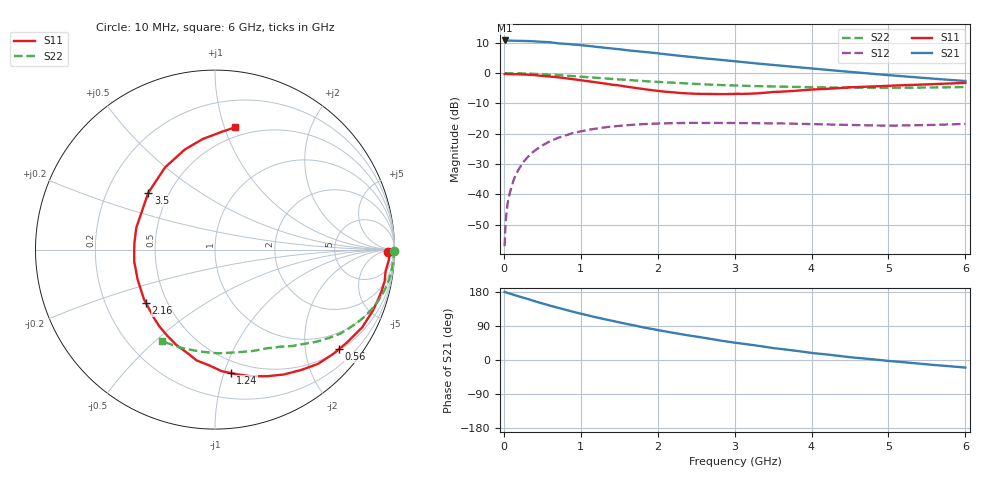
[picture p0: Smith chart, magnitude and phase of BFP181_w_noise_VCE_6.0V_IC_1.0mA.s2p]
! Infineon Technologies  Discrete & RF Semiconductors
! BFP181
! VCE = 6.0 V,  IC =  1.0 mA
! Common Emitter S-Parameters:  Jan 2016
# GHz  S  MA  R  50
!  f  S11  S21  S12  S22
! GHz  MAG  ANG  MAG  ANG  MAG  ANG  MAG  ANG
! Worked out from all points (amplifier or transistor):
!   210 points, 10 MHz to 6 GHz, reference 50 ohm
!   highest |S21| = 10.8 dB at 10 MHz (marker M1)
!   |S21| within 3 dB of that: start of sweep to 1.536 GHz
!   unconditionally stable (mu >= 1): 3.116 GHz to end of sweep
!   at 185 MHz: K = 0.08, MSG = 21.4 dB, |S12| = -32.1 dB
!   at 1.52 GHz: K = 0.52, MSG = 12.6 dB, |S12| = -17.4 dB
!   at 6 GHz: K = 1.26, MAG = 4.0 dB, |S12| = -16.8 dB
!   lowest NFmin = 1.30 dB at 450 MHz
!   S11 on the Smith chart (normalised r, x): 10 MHz: 49, -16; 560 MHz: 0.53, -2.75; 1.24 GHz: 0.40, -1.05; 2.16 GHz: 0.38, -0.30; 3.5 GHz: 0.38, +0.32; 6 GHz: 0.42, +1.08
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0.01  0.9637 -0.7  3.454 179.6  0.0014 83.3  0.9982 -0.3
0.02  0.9721 -1.7  3.447 179.2  0.0029 90.5  0.9914 -0.6
0.025  0.9717 -2.0  3.445 178.8  0.0036 91.0  0.9922 -0.8
0.05  0.9702 -3.4  3.44 176.9  0.0072 91.9  0.9961 -1.6
0.145  0.9609 -10.2  3.409 171.0  0.0198 82.8  0.993 -4.8
0.3  0.9429 -21.1  3.389 161.9  0.0399 76.0  0.9836 -9.9
0.4  0.9274 -27.9  3.338 155.2  0.0526 71.5  0.9736 -13.0
0.56  0.8858 -38.8  3.249 145.7  0.0707 64.2  0.9502 -17.9
0.8  0.8248 -54.4  3.053 132.5  0.0936 54.6  0.911 -24.4
1.02  0.757 -68.8  2.863 121.2  0.1106 46.7  0.8697 -29.9
1.24  0.6934 -82.7  2.677 110.8  0.1239 39.4  0.8316 -34.7
1.5  0.626 -99.4  2.483 99.2  0.1345 32.5  0.7858 -39.5
1.64  0.5859 -107.8  2.355 93.5  0.1395 29.2  0.7666 -41.8
2.02  0.5059 -133.3  2.103 78.3  0.1477 21.2  0.7137 -47.7
2.16  0.4862 -142.4  2.003 73.2  0.1494 18.5  0.6978 -49.9
2.4  0.4624 -158.6  1.873 64.9  0.151 14.3  0.6718 -53.5
2.78  0.4501 177.1  1.672 52.5  0.1511 9.6  0.6385 -58.8
3.1  0.4545 159.4  1.524 43.2  0.1501 5.8  0.6174 -63.5
3.5  0.4884 139.6  1.365 31.5  0.149 2.4  0.6031 -69.5
4.1  0.5422 118.2  1.16 16.7  0.1431 -0.6  0.5818 -80.4
5.1  0.6253 94.5  0.904 -4.1  0.1365 -1.1  0.5736 -100.7
6  0.6892 80.9  0.741 -20.0  0.1451 1.3  0.5898 -120.0
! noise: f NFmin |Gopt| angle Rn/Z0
0.45  1.3  0.7  18  0.5
0.9  1.4  0.6  39  0.52
1.8  1.85  0.4  81  0.47
